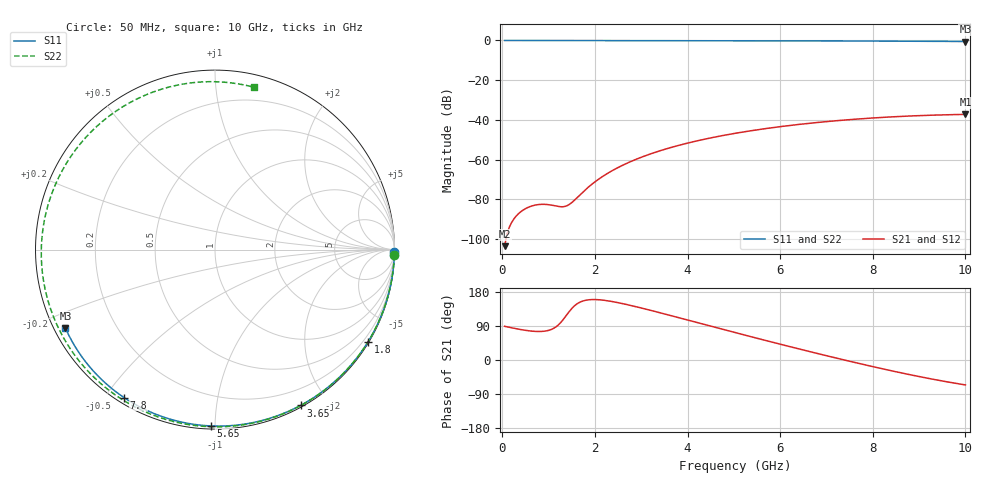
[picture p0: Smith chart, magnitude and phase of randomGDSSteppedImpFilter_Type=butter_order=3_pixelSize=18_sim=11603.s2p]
! freq	dB(S11)	phase(S11)	dB(S12)	phase(S12)
!  dB(S21)	phase(S21)	dB(S22)	phase(S22)
!S-par simulation data
#  GHz  S  DB  R 50
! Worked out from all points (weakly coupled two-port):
!   200 points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, 50 MHz to 10 GHz, reference 50 ohm
!   highest |S21| = -37.24 dB at 10 GHz (marker M1); lowest = -103.6 dB at 50 MHz (marker M2)
!   lowest |S11| = -0.5 dB at 10 GHz (marker M3), VSWR 32.97, Z = 1.61 - j12.3 ohm
!   |S11| at or under -10 dB: nowhere
!   |S22| runs from -0.6 to 0.0 dB; largest |S21 - S12| = 0
!   S11 on the Smith chart (normalised r, x): 50 MHz: open; 1.8 GHz: 0.03, -3.60; 3.65 GHz: 0.02, -1.69; 5.65 GHz: 0.02, -0.97; 7.8 GHz: 0.02, -0.56; 10 GHz: 0.03, -0.25
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0.05  -0.00 -0.9  -103.60 88.9  -103.60 88.9  -0.00 -1.8
0.75  -0.02 -13.1  -82.75 75.2  -82.75 75.2  -0.03 -25.9
1.55  -0.03 -26.8  -80.63 142.0  -80.63 142.0  -0.07 -52.5
1.6  -0.03 -27.6  -79.53 147.0  -79.53 147.0  -0.07 -54.1
1.75  -0.04 -30.2  -76.14 156.0  -76.14 156.0  -0.07 -58.9
1.8  -0.04 -31.0  -75.08 157.6  -75.08 157.6  -0.08 -60.5
2.1  -0.05 -36.1  -69.53 158.9  -69.53 158.9  -0.09 -69.8
2.45  -0.05 -41.9  -64.60 152.5  -64.60 152.5  -0.10 -80.5
2.9  -0.06 -49.2  -59.75 140.3  -59.75 140.3  -0.11 -93.6
3.4  -0.08 -57.3  -55.59 124.8  -55.59 124.8  -0.13 -107.6
3.65  -0.08 -61.2  -53.85 116.9  -53.85 116.9  -0.14 -114.3
4.35  -0.10 -72.1  -49.81 94.2  -49.81 94.2  -0.17 -132.6
5.05  -0.13 -82.7  -46.68 71.7  -46.68 71.7  -0.21 -150.3
5.65  -0.15 -91.5  -44.51 52.7  -44.51 52.7  -0.24 -165.0
6.2  -0.18 -99.4  -42.84 35.6  -42.84 35.6  -0.28 -178.6
6.7  -0.21 -106.4  -41.55 20.3  -41.55 20.3  -0.32 169.0
7.25  -0.24 -114.0  -40.35 4.0  -40.35 4.0  -0.36 155.1
7.8  -0.29 -121.6  -39.36 -11.9  -39.36 -11.9  -0.41 140.7
8.35  -0.33 -129.1  -38.56 -27.0  -38.56 -27.0  -0.46 125.7
9.2  -0.42 -140.9  -37.69 -48.5  -37.69 -48.5  -0.54 101.2
9.6  -0.47 -146.5  -37.42 -57.5  -37.42 -57.5  -0.58 89.0
10  -0.53 -152.3  -37.24 -65.8  -37.24 -65.8  -0.63 76.5
